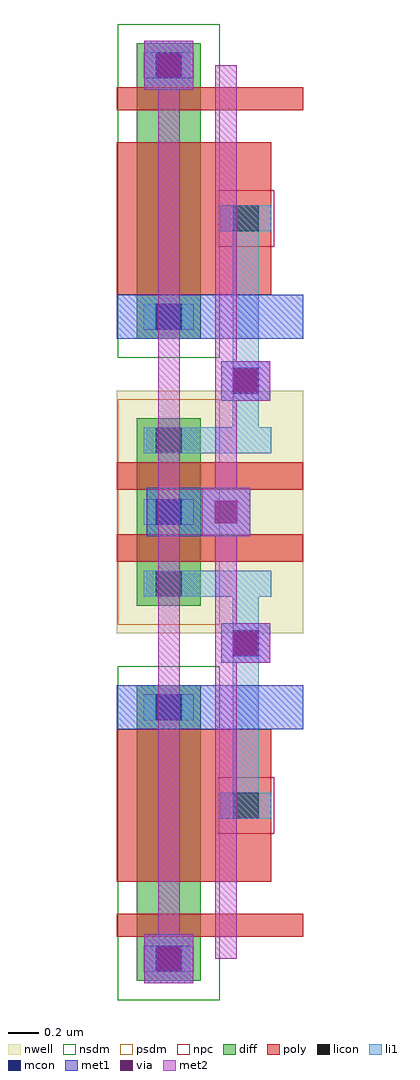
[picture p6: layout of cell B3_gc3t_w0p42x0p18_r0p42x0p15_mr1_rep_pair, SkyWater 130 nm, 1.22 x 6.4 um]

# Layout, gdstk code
import gdstk
lib = gdstk.Library(unit=1e-6, precision=1e-09)
def R(c, l, rs):  # rectangles x0, y0, x1, y1
    for r in rs: c.add(gdstk.rectangle(r[:2], r[2:], *l))
nwell = (64, 20)
diff = (65, 20)
poly = (66, 20)
licon = (66, 44)
li1 = (67, 20)
mcon = (67, 44)
met1 = (68, 20)
via = (68, 44)
met2 = (69, 20)
nsdm = (93, 44)
psdm = (94, 20)
npc = (95, 20)

b3_gc3t_w0p42x0p18_r0p42 = lib.new_cell('B3_gc3t_w0p42x0p18_r0p42x0p15_mr1_rep')
R(b3_gc3t_w0p42x0p18_r0p42, nwell, [(0,2.135,1.22,3.255)])
R(b3_gc3t_w0p42x0p18_r0p42, diff, [(0.13,-0.145,0.55,1.795), (0.13,2.315,0.55,3.075)])
R(b3_gc3t_w0p42x0p18_r0p42, poly, [(0,0.145,1.22,0.295), (0,0.145,0.68,0.295), (0,0.505,1.01,1.505), (0.68,0.84,1.01,1.17), (0,2.605,0.68,2.785), (0,2.605,1.22,2.785)])
R(b3_gc3t_w0p42x0p18_r0p42, licon, [(0.255,-0.085,0.425,0.085), (0.76,0.92,0.93,1.09), (0.255,1.565,0.425,1.735), (0.255,2.375,0.425,2.545), (0.255,2.845,0.425,3.015)])
R(b3_gc3t_w0p42x0p18_r0p42, li1, [(0.175,-0.085,0.505,0.085), (0.68,0.92,1.01,1.09), (0.76,0.92,0.93,2.545), (0.175,1.565,0.505,1.735), (0.175,2.375,1.01,2.545), (0.175,2.375,0.505,2.545), (0.175,2.845,0.505,3.015)])
R(b3_gc3t_w0p42x0p18_r0p42, mcon, [(0.255,-0.085,0.425,0.085), (0.255,1.565,0.425,1.735), (0.76,1.985,0.93,2.155), (0.255,2.845,0.425,3.015)])
R(b3_gc3t_w0p42x0p18_r0p42, met1, [(0.18,-0.16,0.5,0.16), (0,1.505,1.22,1.795), (0.195,1.505,0.485,1.795), (0.685,1.94,1.005,2.2), (0.195,2.77,0.875,3.09), (0.555,2.77,0.875,3.09), (0.195,2.785,0.485,3.075)])
R(b3_gc3t_w0p42x0p18_r0p42, via, [(0.265,-0.075,0.415,0.075), (0.77,1.995,0.92,2.145), (0.64,2.855,0.79,3.005)])
R(b3_gc3t_w0p42x0p18_r0p42, met2, [(0.18,-0.16,0.5,0.16), (0.27,0,0.41,2.93), (0.645,0,0.785,2.93), (0.685,1.94,1.005,2.2), (0.555,2.77,0.875,3.09)])
R(b3_gc3t_w0p42x0p18_r0p42, nsdm, [(0.005,-0.27,0.675,1.92)])
R(b3_gc3t_w0p42x0p18_r0p42, psdm, [(0.005,2.19,0.675,3.2)])
R(b3_gc3t_w0p42x0p18_r0p42, npc, [(0.66,0.82,1.03,1.19)])
b3_gc3t_w0p42x0p18_r0p42.add(gdstk.Label('vss', (0,1.65), layer=68, texttype=5))
b3_gc3t_w0p42x0p18_r0p42.add(gdstk.Label('rbl', (0.34,0), layer=69, texttype=5))
b3_gc3t_w0p42x0p18_r0p42.add(gdstk.Label('wbl', (0.715,2.93), layer=69, texttype=5))
b3_gc3t_w0p42x0p18_r0p42.add(gdstk.Label('rwl', (0,0.22), layer=66, texttype=5))
b3_gc3t_w0p42x0p18_r0p42.add(gdstk.Label('wwl', (0,2.695), layer=66, texttype=5))

c_b3_gc3t_w0p42x0p18_r0p42 = lib.new_cell('B3_gc3t_w0p42x0p18_r0p42x0p15_mr1_rep_pair')
c_b3_gc3t_w0p42x0p18_r0p42.add(gdstk.Reference(b3_gc3t_w0p42x0p18_r0p42, (0,5.86), x_reflection=True))
c_b3_gc3t_w0p42x0p18_r0p42.add(gdstk.Reference(b3_gc3t_w0p42x0p18_r0p42, (0,0)))

lib.write_gds('B3_gc3t_w0p42x0p18_r0p42x0p15_mr1_rep_pair.gds')
